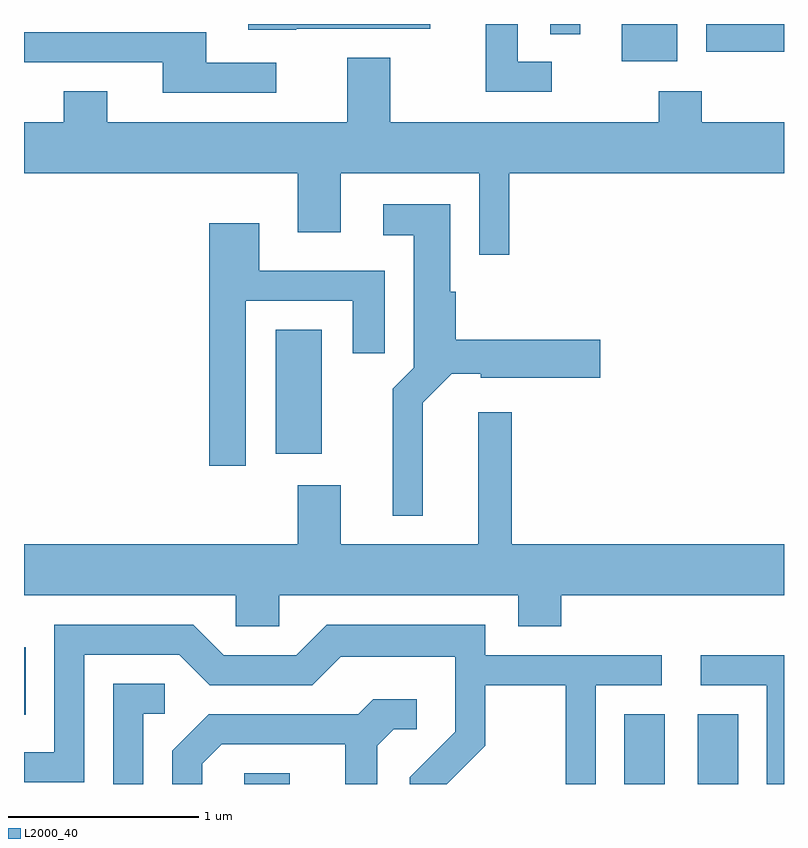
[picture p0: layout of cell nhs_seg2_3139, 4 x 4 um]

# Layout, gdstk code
import gdstk
lib = gdstk.Library(unit=1e-6, precision=1e-09)
def R(c, l, rs):  # rectangles x0, y0, x1, y1
    for r in rs: c.add(gdstk.rectangle(r[:2], r[2:], *l))
def P(c, l, *ps):  # polygons
    for p in ps: c.add(gdstk.Polygon(p, *l))
L2000_40 = (2000, 40)

nhs_seg2_3139 = lib.new_cell('nhs_seg2_3139')
R(nhs_seg2_3139, L2000_40, [(278.771,1011.802,279.009,1011.859), (280.771,1011.802,280.984,1012.169), (281.156,1011.802,281.369,1012.169), (277.611,1012.166,277.619,1012.523), (278.936,1013.541,279.179,1014.194), (280.756,1015.606,281.049,1015.802), (281.201,1015.656,281.611,1015.802), (280.381,1015.748,280.539,1015.802)])
P(nhs_seg2_3139, L2000_40, [(279.045,1015.776),(279.749,1015.776),(279.749,1015.802),(278.791,1015.802),(278.791,1015.771),(279.045,1015.771)],
  [(280.388,1015.604),(280.209,1015.604),(280.209,1015.802),(280.041,1015.802),(280.041,1015.446),(280.388,1015.446)],
  [(278.938,1015.599),(278.569,1015.599),(278.569,1015.759),(277.611,1015.759),(277.611,1015.601),(278.341,1015.601),(278.341,1015.441),(278.938,1015.441)],
  [(280.164,1015.016),(281.611,1015.016),(281.611,1015.284),(281.179,1015.284),(281.179,1015.449),(280.951,1015.449),(280.951,1015.284),(279.539,1015.284),(279.539,1015.624),(279.311,1015.624),(279.311,1015.284),(278.049,1015.284),(278.049,1015.449),(277.821,1015.449),(277.821,1015.284),(277.611,1015.284),(277.611,1015.016),(279.051,1015.016),(279.051,1014.706),(279.279,1014.706),(279.279,1015.016),(280.006,1015.016),(280.006,1014.588),(280.164,1014.588)],
  [(279.709,1013.809),(279.862,1013.961),(280.016,1013.961),(280.016,1013.941),(280.644,1013.941),(280.644,1014.139),(279.884,1014.139),(279.884,1014.394),(279.854,1014.394),(279.854,1014.854),(279.503,1014.854),(279.503,1014.691),(279.661,1014.691),(279.661,1013.992),(279.551,1013.882),(279.551,1013.213),(279.709,1013.213)],
  [(278.779,1014.346),(279.341,1014.346),(279.341,1014.068),(279.509,1014.068),(279.509,1014.504),(278.849,1014.504),(278.849,1014.754),(278.586,1014.754),(278.586,1013.476),(278.779,1013.476)],
  [(278.954,1012.796),(280.211,1012.796),(280.211,1012.631),(280.439,1012.631),(280.439,1012.796),(281.611,1012.796),(281.611,1013.064),(280.179,1013.064),(280.179,1013.759),(280.001,1013.759),(280.001,1013.064),(279.279,1013.064),(279.279,1013.374),(279.051,1013.374),(279.051,1013.064),(277.611,1013.064),(277.611,1012.796),(278.726,1012.796),(278.726,1012.631),(278.954,1012.631)],
  [(280.039,1012.004),(280.039,1012.321),(280.461,1012.321),(280.461,1011.802),(280.619,1011.802),(280.619,1012.321),(280.968,1012.321),(280.968,1012.479),(280.039,1012.479),(280.039,1012.639),(279.204,1012.639),(279.044,1012.479),(278.662,1012.479),(278.502,1012.639),(277.771,1012.639),(277.771,1011.969),(277.611,1011.969),(277.611,1011.811),(277.929,1011.811),(277.929,1012.481),(278.429,1012.481),(278.589,1012.321),(279.127,1012.321),(279.277,1012.471),(279.881,1012.471),(279.881,1012.077),(279.641,1011.837),(279.641,1011.802),(279.837,1011.802)],
  [(281.611,1012.479),(281.173,1012.479),(281.173,1012.321),(281.521,1012.321),(281.521,1011.802),(281.611,1011.802)],
  [(278.239,1012.171),(278.353,1012.171),(278.353,1012.329),(278.081,1012.329),(278.081,1011.802),(278.239,1011.802)],
  [(278.549,1011.909),(278.652,1012.011),(279.301,1012.011),(279.301,1011.802),(279.469,1011.802),(279.469,1012.004),(279.557,1012.091),(279.678,1012.091),(279.678,1012.249),(279.449,1012.249),(279.369,1012.169),(278.584,1012.169),(278.391,1011.977),(278.391,1011.802),(278.549,1011.802)])

lib.write_gds('nhs_seg2_3139.gds')
